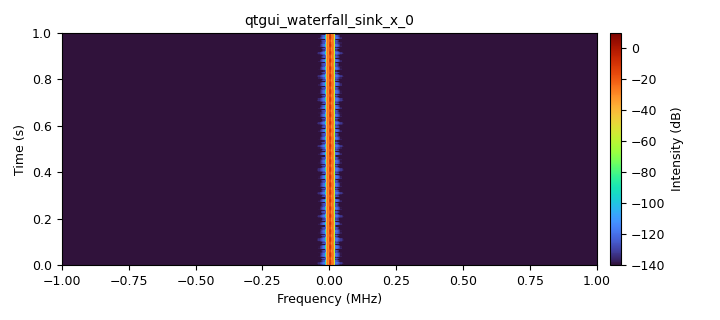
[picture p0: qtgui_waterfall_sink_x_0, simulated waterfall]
options:
  parameters:
    author: Torsten Jaekel
    copyright: free (2021)
    description: Airplane VOR (CDI) tester
    generate_options: qt_gui
    id: title
    output_language: python
    title: VOR Tester
  states: {}

blocks:
- name: DELAY
  id: variable_qtgui_range
  parameters:
    label: Bearing (0...180deg)
    start: '0'
    step: '1'
    stop: '180'
    value: '0'
  states: {}
- name: INVERT
  id: variable_qtgui_check_box
  parameters:
    'false': '-1'
    label: 0 [FROM} (or 180 [TO])
    'true': '1'
    type: int
    value: '1'
  states: {}
- name: samp_rate
  id: variable
  parameters:
    value: 2e6
  states: {}
- name: variable_qtgui_label_0
  id: variable_qtgui_label
  parameters:
    label: VOR Tester (Torsten Jaekel 2021) ver.
    type: string
    value: '1.1'
  states: {}
- name: analog_const_source_x_0
  id: analog_const_source_x
  parameters:
    const: '0'
    type: float
  states: {}
- name: analog_const_source_x_1
  id: analog_const_source_x
  parameters:
    comment: |-
      AM modulation carrier
      (actually 1)
    const: '0.7'
    type: float
  states: {}
- name: analog_nbfm_tx_0
  id: analog_nbfm_tx
  parameters:
    audio_rate: int(samp_rate/1)
    comment: 30 Hz REF signal FM moduilator, subcarrier 9960 Hz
    fh: '-1.0'
    max_dev: '480'
    quad_rate: int(samp_rate)
    tau: '75e-6'
  states: {}
- name: analog_sig_source_x_0
  id: analog_sig_source_x
  parameters:
    amp: '1'
    freq: '1020'
    offset: '0'
    phase: '0'
    samp_rate: samp_rate
    type: float
    waveform: analog.GR_SIN_WAVE
  states: {}
- name: analog_sig_source_x_1
  id: analog_sig_source_x
  parameters:
    amp: '1'
    freq: '30'
    offset: '0'
    phase: '0'
    samp_rate: samp_rate
    type: float
    waveform: analog.GR_SIN_WAVE
  states: {}
- name: analog_sig_source_x_2
  id: analog_sig_source_x
  parameters:
    amp: '1'
    comment: |-
      very simple ID generation,
      as "TTT"
    freq: '1'
    offset: '0'
    phase: '0'
    samp_rate: samp_rate
    type: float
    waveform: analog.GR_SQR_WAVE
  states: {}
- name: analog_sig_source_x_2_0
  id: analog_sig_source_x
  parameters:
    amp: '1'
    freq: '0.2'
    offset: '0'
    phase: '0'
    samp_rate: samp_rate
    type: float
    waveform: analog.GR_SQR_WAVE
  states: {}
- name: analog_sig_source_x_3
  id: analog_sig_source_x
  parameters:
    amp: '1'
    comment: |-
      FM REF signal subcarrier
      (actually 9960 Hz)
    freq: '9960'
    offset: '0'
    phase: '0'
    samp_rate: samp_rate
    type: complex
    waveform: analog.GR_COS_WAVE
  states: {}
- name: blocks_add_xx_0
  id: blocks_add_xx
  parameters:
    comment: AM modulation
    num_inputs: '4'
    type: float
  states: {}
- name: blocks_complex_to_float_2
  id: blocks_complex_to_float
  parameters: {}
  states: {}
- name: blocks_delay_0
  id: blocks_delay
  parameters:
    delay: int(DELAY * 23.22)
    type: float
  states: {}
- name: blocks_file_sink_0
  id: blocks_file_sink
  parameters:
    comment: |-
      record to file or
      connect to SDR Tx block
      (and set RF frequency,
      here all is as baseband)
    file: generatedVOR_2M.rec
    type: complex
  states: {}
- name: blocks_float_to_complex_0
  id: blocks_float_to_complex
  parameters: {}
  states: {}
- name: blocks_multiply_const_vxx_0
  id: blocks_multiply_const_vxx
  parameters:
    comment: |-
      VAR signal: 30 Hz AM modulated
      (Conventional VOR, CVOR),
      with phase for Bearing
    const: '0.3'
    type: float
  states: {}
- name: blocks_multiply_const_vxx_1
  id: blocks_multiply_const_vxx
  parameters:
    const: '1'
    type: complex
  states: {}
- name: blocks_multiply_const_vxx_2
  id: blocks_multiply_const_vxx
  parameters:
    const: '0.3'
    type: complex
  states: {}
- name: blocks_multiply_const_vxx_3
  id: blocks_multiply_const_vxx
  parameters:
    comment: Morse code (ID)
    const: '0.05'
    type: float
  states: {}
- name: blocks_multiply_const_xx_0
  id: blocks_multiply_const_xx
  parameters:
    comment: 0 or 180deg phase invertion (TO/FROM)
    const: INVERT
    type: float
  states: {}
- name: blocks_multiply_xx_0
  id: blocks_multiply_xx
  parameters:
    comment: FM center carrier in spectrum
    type: complex
  states: {}
- name: blocks_multiply_xx_1
  id: blocks_multiply_xx
  parameters:
    comment: |-
      Morse Code (ID) generator
      ("T T T")
    num_inputs: '3'
    type: float
  states: {}
- name: low_pass_filter_0
  id: low_pass_filter
  parameters:
    comment: remove modulation artefacts
    cutoff_freq: 10e3
    decim: '1'
    gain: '1'
    samp_rate: samp_rate
    type: fir_filter_ccf
    width: 10e3
    win: window.WIN_HAMMING
  states: {state: disabled}
- name: osmosdr_sink_0
  id: osmosdr_sink
  parameters:
    bb_gain0: '20'
    comment: HackRF One as transmitter, use ELB VOR frequency
    freq0: 117.2e6
    gain0: '10'
    if_gain0: '20'
    sample_rate: samp_rate
    sync: pc_clock
    type: fc32
  states: {state: disabled}
- name: qtgui_waterfall_sink_x_0
  id: qtgui_waterfall_sink_x
  parameters:
    bw: samp_rate
    fc: '0'
    fftsize: '1024'
    type: complex
  states: {}

connections:
- [analog_const_source_x_0, '0', blocks_float_to_complex_0, '1']
- [analog_const_source_x_1, '0', blocks_add_xx_0, '1']
- [analog_nbfm_tx_0, '0', blocks_multiply_xx_0, '0']
- [analog_sig_source_x_0, '0', blocks_multiply_xx_1, '2']
- [analog_sig_source_x_1, '0', blocks_delay_0, '0']
- [analog_sig_source_x_1, '0', blocks_multiply_const_xx_0, '0']
- [analog_sig_source_x_2, '0', blocks_multiply_xx_1, '1']
- [analog_sig_source_x_2_0, '0', blocks_multiply_xx_1, '0']
- [analog_sig_source_x_3, '0', blocks_multiply_xx_0, '1']
- [blocks_add_xx_0, '0', blocks_float_to_complex_0, '0']
- [blocks_complex_to_float_2, '0', blocks_add_xx_0, '3']
- [blocks_delay_0, '0', blocks_multiply_const_vxx_0, '0']
- [blocks_float_to_complex_0, '0', blocks_multiply_const_vxx_1, '0']
- [blocks_float_to_complex_0, '0', low_pass_filter_0, '0']
- [blocks_float_to_complex_0, '0', osmosdr_sink_0, '0']
- [blocks_float_to_complex_0, '0', qtgui_waterfall_sink_x_0, '0']
- [blocks_multiply_const_vxx_0, '0', blocks_add_xx_0, '2']
- [blocks_multiply_const_vxx_1, '0', blocks_file_sink_0, '0']
- [blocks_multiply_const_vxx_2, '0', blocks_complex_to_float_2, '0']
- [blocks_multiply_const_vxx_3, '0', blocks_add_xx_0, '0']
- [blocks_multiply_const_xx_0, '0', analog_nbfm_tx_0, '0']
- [blocks_multiply_xx_0, '0', blocks_multiply_const_vxx_2, '0']
- [blocks_multiply_xx_1, '0', blocks_multiply_const_vxx_3, '0']
- [low_pass_filter_0, '0', blocks_multiply_const_vxx_1, '0']
- [low_pass_filter_0, '0', osmosdr_sink_0, '0']
- [low_pass_filter_0, '0', qtgui_waterfall_sink_x_0, '0']

metadata:
  file_format: 1
  grc_version: 3.10.7.0
